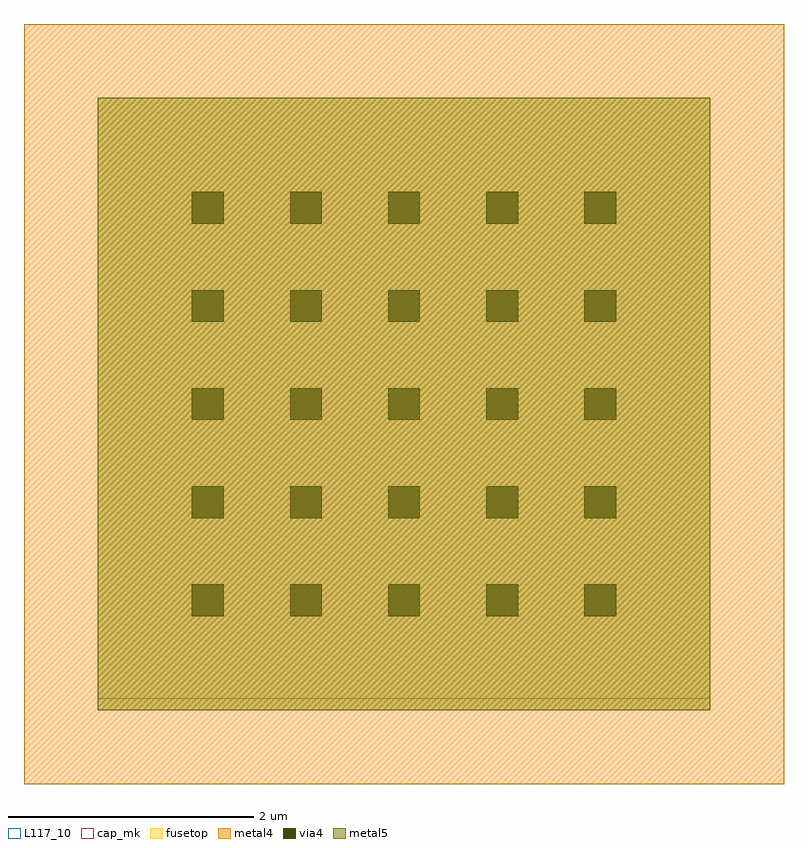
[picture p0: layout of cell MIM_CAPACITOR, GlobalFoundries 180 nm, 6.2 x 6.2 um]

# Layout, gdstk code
import gdstk
lib = gdstk.Library(unit=1e-6, precision=5e-09)
def R(c, l, rs):  # rectangles x0, y0, x1, y1
    for r in rs: c.add(gdstk.rectangle(r[:2], r[2:], *l))
def A(c, l, x, y, w, h, nx, ny, dx, dy):  # array of equal rectangles
    R(c, l, [(x+i*dx, y+j*dy, x+i*dx+w, y+j*dy+h) for i in range(nx) for j in range(ny)])
via4 = (41, 0)
metal4 = (46, 0)
fusetop = (75, 0)
metal5 = (81, 0)
cap_mk = (117, 5)
L117_10 = (117, 10)

mim_capacitor = lib.new_cell('MIM_CAPACITOR')
A(mim_capacitor, via4, -1.73, -1.73, 0.26, 0.26, 5, 5, 0.8, 0.8)
R(mim_capacitor, metal4, [(-3.1,-3.1,3.1,3.1)])
R(mim_capacitor, fusetop, [(-2.5,-2.5,2.5,2.5)])
A(mim_capacitor, metal5, -1.85, -1.85, 0.5, 0.5, 5, 5, 0.8, 0.8)
R(mim_capacitor, metal5, [(-2.5,-2.5,2.5,2.5)])
R(mim_capacitor, cap_mk, [(-3.1,-3.1,3.1,3.1)])
R(mim_capacitor, L117_10, [(-2.5,-2.5,2.5,-2.4)])

lib.write_gds('MIM_CAPACITOR.gds')
